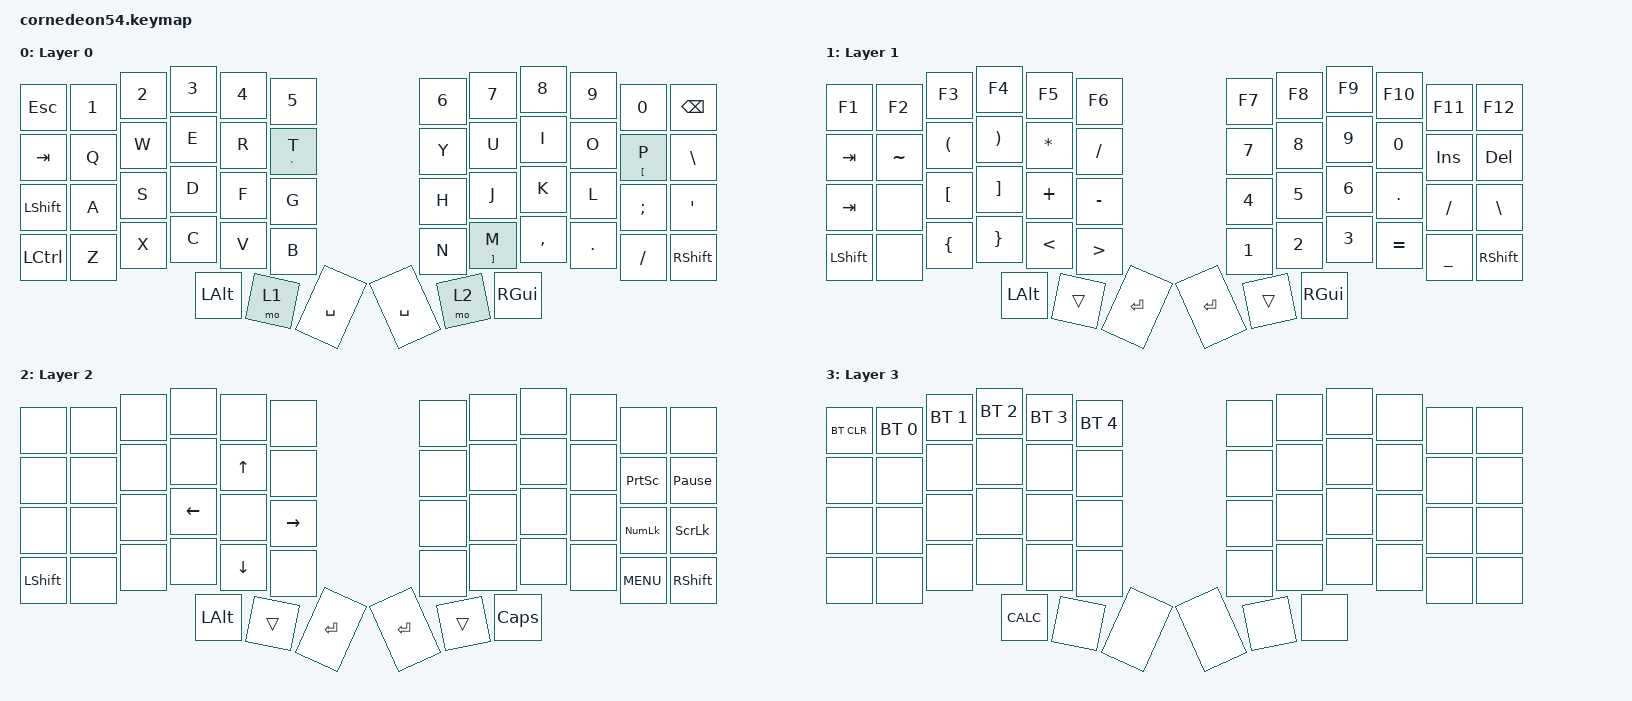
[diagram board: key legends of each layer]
/*
 * Copyright (c) 2020 The ZMK Contributors
 *
 * SPDX-License-Identifier: MIT
 */

#include <dt-bindings/zmk/matrix_transform.h>
#include <behaviors.dtsi>
#include <dt-bindings/zmk/bt.h>
#include <dt-bindings/zmk/keys.h>

/ {
    keymap {
        compatible = "zmk,keymap";

        layer_0 {
            display-name = "Layer 0";

            // ----------------------------------------------------------------------------------------
            // |  ESC  |  1   |  2  |   3  |   4   |  5  |   |  6  |   7   |  8  |  9  |  0   | BSPC  |
            // |  TAB  |  Q   |  W  |   E  |   R   |  T  |   |  Y  |   U   |  I  |  O  |  P   |   \   |
            // | SHIFT |  A   |  S  |   D  |   F   |  G  |   |  H  |   J   |  K  |  L  |  ;   |   '   |
            // | CTRL  |  Z   |  X  |   C  |   V   |  B  |   |  N  |   M   |  ,  |  .  |  /   | SHIFT |
            // |       |      |     | LALT | MO(1) | SPC |   | SPC | MO(2) | GUI |     |      |       |

            bindings = <
&kp ESC   &kp N1  &kp N2  &kp N3   &kp N4 &kp N5        &kp N6    &kp N7  &kp N8  &kp N9  &kp N0      &kp BSPC
&kp TAB   &kp Q   &kp W   &kp E    &kp R  &mt GRAVE T   &kp Y     &kp U   &kp I   &kp O   &mt LBKT P  &kp BSLH
&kp LSHFT &kp A   &kp S   &kp D    &kp F  &kp G         &kp H     &kp J   &kp K   &kp L   &kp SEMI    &kp SQT
&kp LCTRL &kp Z   &kp X   &kp C    &kp V  &kp B         &kp N     &mt RBKT M  &kp COMMA  &kp DOT  &kp FSLH  &kp RSHFT
                          &kp LALT &mo 1  &kp SPACE     &kp SPACE &mo 2   &kp RGUI
            >;
        };

        layer_1 {
            display-name = "Layer 1";

            // -------------------------------------------------------------------------------------
            // |  F1   |  F2  |  F3 |  F4 |  F5 |  F6 |      |  F7 |  F8 |  F9 | F10 | F11 |  F12  |
            // |  TAB  |  ~   |  (  |  )  |  *  |  /  |      |  7  |  8  |  9  |  0  | INS |  DEL  |
            // | SHIFT |      |  [  |  ]  |  +  |  -  |      |  4  |  5  |  6  |  .  |  /  |   \   |
            // | CTRL  |      |  {  |  }  |  <  |  >  |      |  1  |  2  |  3  |  =  |  _  | SHIFT |
            // |       |      | END | ALT |     | RET |      | RET |     | GUI |     |     |       |

            bindings = <
&kp F1     &kp F2     &kp F3    &kp F4    &kp F5    &kp F6      &kp F7   &kp F8  &kp F9  &kp F10  &kp F11  &kp F12
&kp TAB    &kp TILDE  &kp LPAR  &kp RPAR  &kp STAR  &kp FSLH    &kp N7   &kp N8  &kp N9  &kp N0  &kp INS  &kp DEL
&kp TAB    &none      &kp LBKT  &kp RBKT  &kp PLUS  &kp MINUS   &kp N4   &kp N5  &kp N6  &kp DOT  &kp FSLH  &kp BSLH
&kp LSHFT  &none      &kp LBRC  &kp RBRC  &kp LT    &kp GT      &kp N1   &kp N2  &kp N3  &kp EQUAL  &kp UNDER  &kp RSHFT
                                &kp LALT  &trans    &kp RET     &kp RET  &trans  &kp RGUI
            >;
        };

        layer_2 {
            display-name = "Layer 2";

            // ------------------------------------------------------------------------------------------
            // |       |      |      |     |     |     |      |     |      |      |      |       |       |
            // |       |      |      |     |  UP |     |      |     |      |      |      | PSCRN | PAUSE |
            // |       |      |      | LEFT|     |RIGHT|      |     |      |      |      | NUMLK | SCRLK |
            // | SHIFT |      |      |     | DOWN|     |      |     |      |      |      | MENU  | SHIFT |
            // |       |      |      | ALT |     | RET |      | RET |      | CAPS |      |       |       |

            bindings = <
&none     &none  &none  &none     &none     &none          &none    &none   &none   &none  &none  &none
&none     &none  &none  &none     &kp UP    &none          &none    &none   &none   &none &kp PSCRN  &kp PAUSE_BREAK
&none     &none  &none  &kp LEFT  &none     &kp RIGHT      &none    &none   &none   &none &kp KP_NUM  &kp SLCK
&kp LSHFT &none  &none  &none     &kp DOWN  &none          &none    &none   &none   &none  &kp K_MENU  &kp RSHFT
                        &kp LALT  &trans    &kp RET        &kp RET  &trans  &kp CAPS
            >;
        };

        layer_3 {
            display-name = "Layer 3";

            // -----------------------------------------------------------------------------------
            // | BTCLR | BT0 | BT1 | BT2  | BT3 | BT4 |      |     |     |     |     |     |     |
            // |       |     |     |      |     |     |      |     |     |     |     |     |     |
            // |       |     |     |      |     |     |      |     |     |     |     |     |     |
            // |       |     |     |      |     |     |      |     |     |     |     |     |     |
            // |       |     |     | CALC |     |     |      |     |     |     |     |     |     |

            bindings = <
&bt BT_CLR  &bt BT_SEL 0  &bt BT_SEL 1  &bt BT_SEL 2  &bt BT_SEL 3  &bt BT_SEL 4  &none  &none  &none  &none  &none  &none
&none  &none  &none  &none  &none  &none    &none  &none  &none  &none  &none  &none
&none  &none  &none  &none  &none  &none    &none  &none  &none  &none  &none  &none
&none  &none  &none  &none  &none  &none    &none  &none  &none  &none  &none  &none
                &kp K_CALC  &none  &none    &none  &none  &none
            >;
        };
    };

    conditional_layers {
        compatible = "zmk,conditional-layers";

        layer_3 {
            if-layers = <1 2>;
            then-layer = <3>;
        };
    };

    combos {
        compatible = "zmk,combos";

        combo_bt_clr_left {
            timeout-ms = <50>;
            layers = <1>;
            key-positions = <0 1 2 3>;
            bindings = <&bt BT_CLR>;
        };

        combo_bt_clr_right {
            timeout-ms = <50>;
            layers = <2>;
            key-positions = <11 10 9 8>;
            bindings = <&bt BT_CLR>;
        };
    };
};
